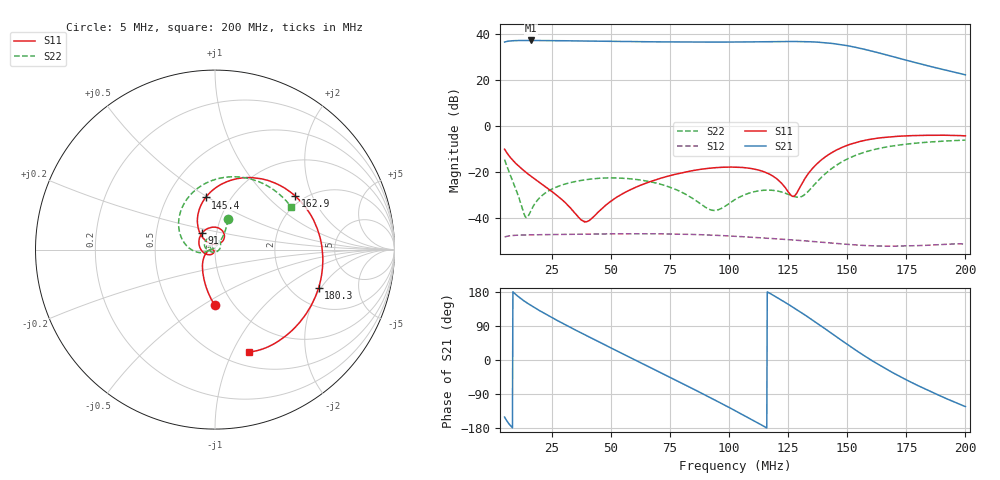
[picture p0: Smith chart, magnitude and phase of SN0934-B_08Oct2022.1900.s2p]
# Hz S DB R 50
! CMT, M5045, 22160017, 22.3.3/2
! Date: 10/8/2022 19:00:37
! Data: Format (Calibration Info)
! Freq	S11:dB/Ang(F2)	S21:dB/Ang(F2)	S12:dB/Ang(F2)	S22:dB/Ang(F2)
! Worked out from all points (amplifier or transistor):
!   1001 points, 5 MHz to 200 MHz, reference 50 ohm
!   highest |S21| = 37.2 dB at 16.31 MHz (marker M1)
!   |S21| within 3 dB of that: start of sweep to 153.6 MHz
!   unconditionally stable (mu >= 1): start of sweep to end of sweep
!   at 37.37 MHz: K = 1.78, MAG = 37.0 dB, |S12| = -47.3 dB
!   at 102.5 MHz: K = 2.02, MAG = 36.6 dB, |S12| = -48.2 dB
!   at 200 MHz: K = 7.50, MAG = 25.2 dB, |S12| = -51.6 dB
!   S11 on the Smith chart (normalised r, x): 5 MHz: 0.82, -0.56; 91 MHz: 0.85, +0.16; 145.4 MHz: 0.77, +0.49; 162.9 MHz: 1.79, +1.51; 180.3 MHz: 2.77, -1.90; 200 MHz: 0.65, -1.16
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5000000  -10.21 -90.5  36.49 -150.7  -48.51 -147.8  -14.75 67.0
9290000  -15.94 -114.1  37.11 175.3  -47.77 178.1  -26.40 58.7
1.631e7  -22.12 -143.4  37.19 143.3  -47.55 145.9  -36.65 168.6
2.6645e7  -29.92 -175.6  37.11 106.4  -47.40 110.0  -26.84 177.2
3.7565e7  -41.08 -165.1  36.95 70.9  -47.26 75.7  -23.80 155.8
5.4335e7  -29.99 -124.8  36.73 18.4  -47.10 26.2  -22.83 112.4
6.2135e7  -26.10 -146.1  36.64 -5.8  -47.07 3.6  -23.60 90.1
7.013e7  -23.17 -169.8  36.57 -30.5  -47.11 -19.5  -25.24 65.5
8.105e7  -20.27 157.7  36.51 -64.6  -47.28 -51.3  -29.54 25.2
9.0995e7  -18.60 127.5  36.49 -96.1  -47.61 -80.6  -36.11 -42.5
1.025e8  -18.03 93.5  36.50 -133.5  -48.18 -115.6  -32.16 -149.8
1.1147e8  -19.07 67.6  36.59 -163.6  -48.72 -144.2  -28.56 170.9
1.19465e8  -22.59 49.1  36.69 167.9  -49.25 -171.8  -28.27 148.6
1.26875e8  -30.78 85.3  36.74 139.8  -49.78 159.9  -30.62 149.4
1.35065e8  -18.87 133.8  36.58 106.3  -50.42 124.9  -26.83 -167.4
1.40135e8  -14.00 119.4  36.26 84.5  -50.83 101.2  -21.44 -168.4
1.454e8  -10.60 100.2  35.66 61.4  -51.30 75.7  -17.22 178.4
1.53395e8  -7.38 69.1  34.23 26.9  -51.94 37.0  -12.95 152.2
1.6295e8  -5.40 34.0  31.88 -11.0  -52.41 -4.7  -9.99 121.0
1.6763e8  -4.88 18.2  30.60 -27.8  -52.48 -22.5  -9.06 107.0
1.80305e8  -4.22 -20.3  27.15 -68.7  -52.23 -63.4  -7.46 73.1
2e8  -4.41 -71.7  22.21 -122.9  -51.64 -114.9  -6.25 29.1
